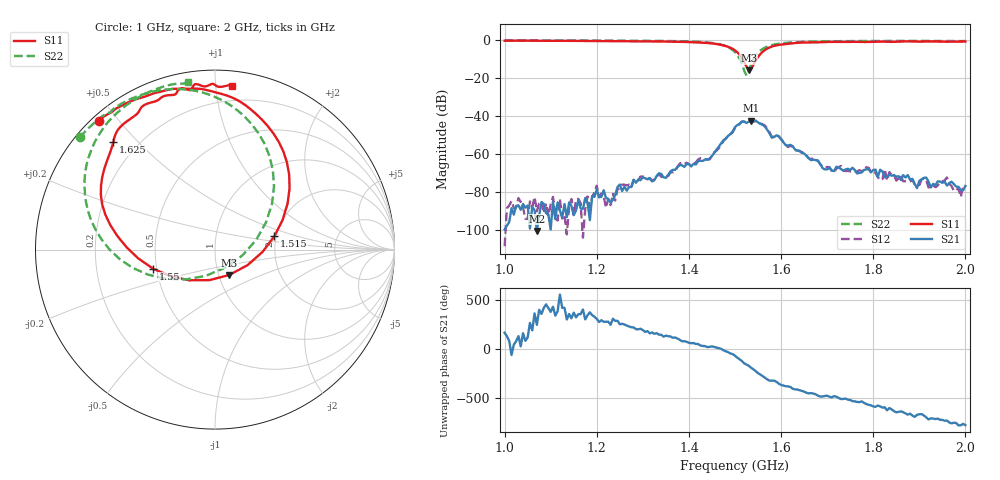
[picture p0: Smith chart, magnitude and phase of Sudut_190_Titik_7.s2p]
# Hz S RI R 50
! CMT, C1220, 16058040, 17.2.0/1
! Date: 14/08/2018 12:14:45
! Data: Format (Calibration Info)
! Freq  S11: Re/Im (F2)  S21: Re/Im (F2)  S12: Re/Im (F2)  S22: Re/Im (F2)
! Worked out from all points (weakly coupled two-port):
!   201 points, 1 GHz to 2 GHz, reference 50 ohm
!   highest |S21| = -42.37 dB at 1.535 GHz (marker M1); lowest = -100.5 dB at 1.07 GHz (marker M2)
!   lowest |S11| = -15.8 dB at 1.53 GHz (marker M3), VSWR 1.39, Z = 56.2 - j16.3 ohm
!   |S11| at or under -10 dB: 1.516 GHz to 1.547 GHz (30.59 MHz wide, 2 % of centre)
!   |S22| runs from -18.8 to -0.2 dB; largest |S21 - S12| = 0.00042
!   S11 on the Smith chart (normalised r, x): 1 GHz: 0.02, +0.44; 1.515 GHz: 1.95, +0.33; 1.55 GHz: 0.48, -0.12; 1.625 GHz: 0.11, +0.43; 2 GHz: 0.09, +1.11
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1e9  -0.6473 0.7144  -1e-05 2.41e-06  3.8e-06 -2.04e-07  -0.7536 0.6247
1.07e9  -0.5744 0.7672  -3.8e-06 -8.69e-06  1.27e-05 2.88e-05  -0.7045 0.6768
1.17e9  -0.4783 0.8225  2.68e-05 2.47e-05  6.69e-08 6.36e-06  -0.6169 0.7506
1.265e9  -0.3401 0.8714  -5.67e-05 -9.36e-05  -9.38e-05 -0.000117  -0.5157 0.816
1.335e9  -0.2199 0.8959  -0.000261 0.000176  -0.000243 0.000178  -0.4006 0.8652
1.445e9  0.1523 0.8165  0.000704 0.000292  0.000689 0.000241  -0.00931 0.8544
1.5e9  0.4155 0.3413  0.00194 -0.00477  0.0018 -0.0045  0.3289 0.3522
1.515e9  0.3304 0.0739  -0.00382 -0.00609  -0.00371 -0.00624  0.23 0.0547
1.53e9  0.0798 -0.1414  -0.00704 -0.00111  -0.00712 -0.00114  -0.0509 -0.1462
1.535e9  -0.0308 -0.17  -0.00749 0.0014  -0.00751 0.00141  -0.1638 -0.1665
1.55e9  -0.3453 -0.1059  -0.00286 0.00621  -0.00309 0.0061  -0.4582 -0.1019
1.625e9  -0.5661 0.6003  0.00118 -0.00113  0.00119 -0.00101  -0.7016 0.5214
1.67e9  -0.447 0.7454  -4.05e-05 -0.000716  -6.65e-06 -0.000789  -0.6254 0.6723
1.715e9  -0.3646 0.8172  -0.000175 -0.000313  -0.000218 -0.000254  -0.5507 0.7571
1.825e9  -0.1654 0.8948  -0.00015 0.000197  -7.48e-05 0.000395  -0.3903 0.867
1.83e9  -0.1543 0.8919  -2.65e-05 0.000248  -0.000117 0.000166  -0.3837 0.8703
1.835e9  -0.1444 0.8895  -0.000142 0.000255  -0.000143 0.000305  -0.3771 0.8736
1.875e9  -0.1055 0.9222  0.000172 0.000224  0.000112 0.000153  -0.321 0.8966
1.895e9  -0.0664 0.9102  8.15e-05 9.83e-05  8.09e-05 0.000134  -0.2921 0.9064
1.915e9  -0.0302 0.9176  0.00022 0.000102  0.000193 8.93e-05  -0.2653 0.9145
1.925e9  -0.0173 0.923  0.000129 3.29e-05  0.000135 7.93e-05  -0.2511 0.9178
2e9  0.0956 0.9135  8.48e-05 -0.000119  8.45e-05 -0.00011  -0.1525 0.933
